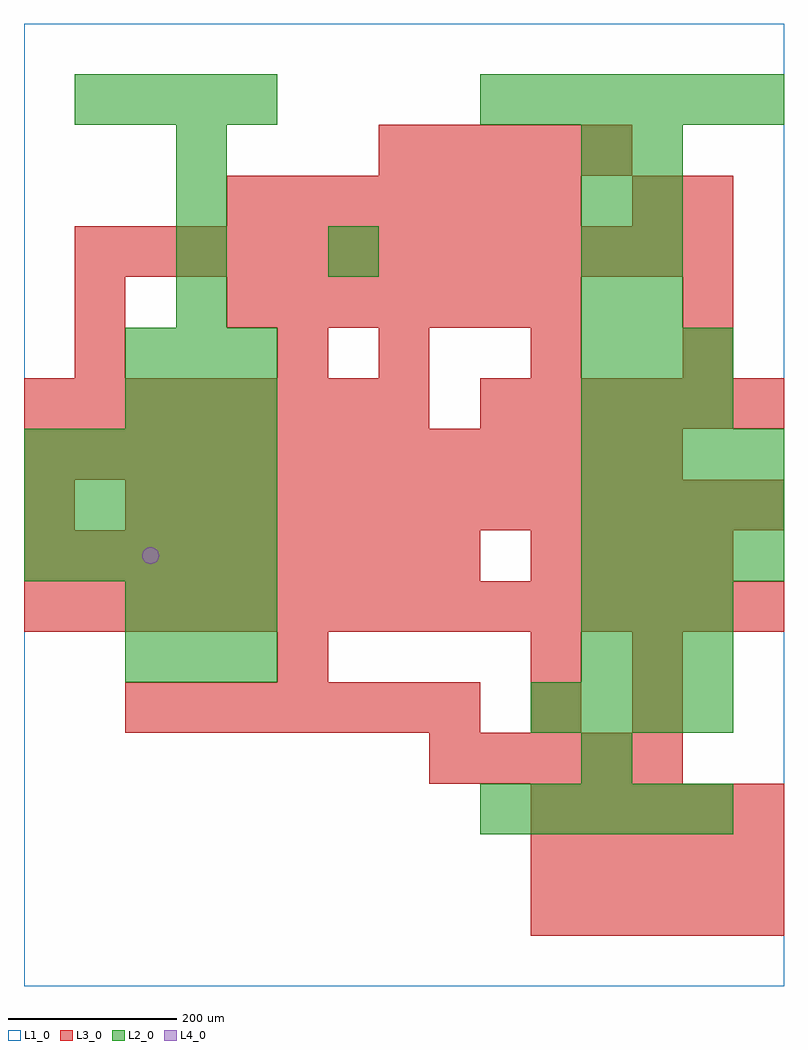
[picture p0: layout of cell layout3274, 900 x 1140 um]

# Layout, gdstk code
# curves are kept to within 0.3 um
import gdstk
lib = gdstk.Library(unit=1e-6, precision=1e-09)
def R(c, l, rs):  # rectangles x0, y0, x1, y1
    for r in rs: c.add(gdstk.rectangle(r[:2], r[2:], *l))
def A(c, l, x, y, w, h, nx, ny, dx, dy):  # array of equal rectangles
    R(c, l, [(x+i*dx, y+j*dy, x+i*dx+w, y+j*dy+h) for i in range(nx) for j in range(ny)])
def P(c, l, *ps):  # polygons
    for p in ps: c.add(gdstk.Polygon(p, *l))
L1_0 = (1, 0)
L2_0 = (2, 0)
L3_0 = (3, 0)
L4_0 = (4, 0)

layout3274 = lib.new_cell('layout3274')
R(layout3274, L1_0, [(0,0,900,1140)])
A(layout3274, L2_0, 540, 180, 60, 60, 5, 1, 60, 0)
A(layout3274, L2_0, 600, 300, 60, 60, 4, 1, 60, 0)
A(layout3274, L2_0, 120, 360, 60, 60, 3, 2, 60, 60)
A(layout3274, L2_0, 660, 360, 60, 60, 3, 2, 60, 60)
A(layout3274, L2_0, 0, 480, 60, 60, 5, 3, 60, 60)
A(layout3274, L2_0, 660, 480, 60, 60, 4, 3, 60, 60)
A(layout3274, L2_0, 120, 660, 60, 60, 3, 2, 60, 60)
A(layout3274, L2_0, 660, 660, 60, 60, 3, 2, 60, 60)
A(layout3274, L2_0, 180, 780, 60, 60, 1, 4, 0, 60)
A(layout3274, L2_0, 660, 780, 60, 60, 1, 4, 0, 60)
A(layout3274, L2_0, 720, 780, 60, 60, 1, 4, 0, 60)
A(layout3274, L2_0, 60, 1020, 60, 60, 4, 1, 60, 0)
A(layout3274, L2_0, 540, 1020, 60, 60, 6, 1, 60, 0)
R(layout3274, L2_0, [(660,240,720,300), (360,840,420,900)])
A(layout3274, L3_0, 600, 60, 60, 60, 5, 3, 60, 60)
A(layout3274, L3_0, 480, 240, 60, 60, 5, 1, 60, 0)
A(layout3274, L3_0, 120, 300, 60, 60, 7, 1, 60, 0)
A(layout3274, L3_0, 0, 420, 60, 60, 15, 1, 60, 0)
A(layout3274, L3_0, 0, 480, 60, 60, 9, 1, 60, 0)
A(layout3274, L3_0, 600, 480, 60, 60, 4, 1, 60, 0)
A(layout3274, L3_0, 120, 540, 60, 60, 13, 1, 60, 0)
A(layout3274, L3_0, 0, 600, 60, 60, 13, 1, 60, 0)
A(layout3274, L3_0, 0, 660, 60, 60, 8, 1, 60, 0)
A(layout3274, L3_0, 540, 660, 60, 60, 6, 1, 60, 0)
A(layout3274, L3_0, 420, 720, 60, 60, 3, 1, 180, 0)
A(layout3274, L3_0, 240, 780, 60, 60, 7, 2, 60, 120)
A(layout3274, L3_0, 60, 840, 60, 60, 13, 1, 60, 0)
A(layout3274, L3_0, 420, 960, 60, 60, 5, 1, 60, 0)
R(layout3274, L3_0, [(600,300,660,360), (720,300,780,360), (300,360,360,420), (600,360,660,420), (720,360,780,420), (0,540,60,600), (60,720,120,780), (300,720,360,780), (60,780,120,840), (780,780,840,840), (720,900,780,960), (780,900,840,960)])
P(layout3274, L4_0, [(160,510),(159.239,513.827),(157.071,517.071),(153.827,519.239),(150,520),(146.173,519.239),(142.929,517.071),(140.761,513.827),(140,510),(140.761,506.173),(142.929,502.929),(146.173,500.761),(150,500),(153.827,500.761),(157.071,502.929),(159.239,506.173)])

lib.write_gds('layout3274.gds')
